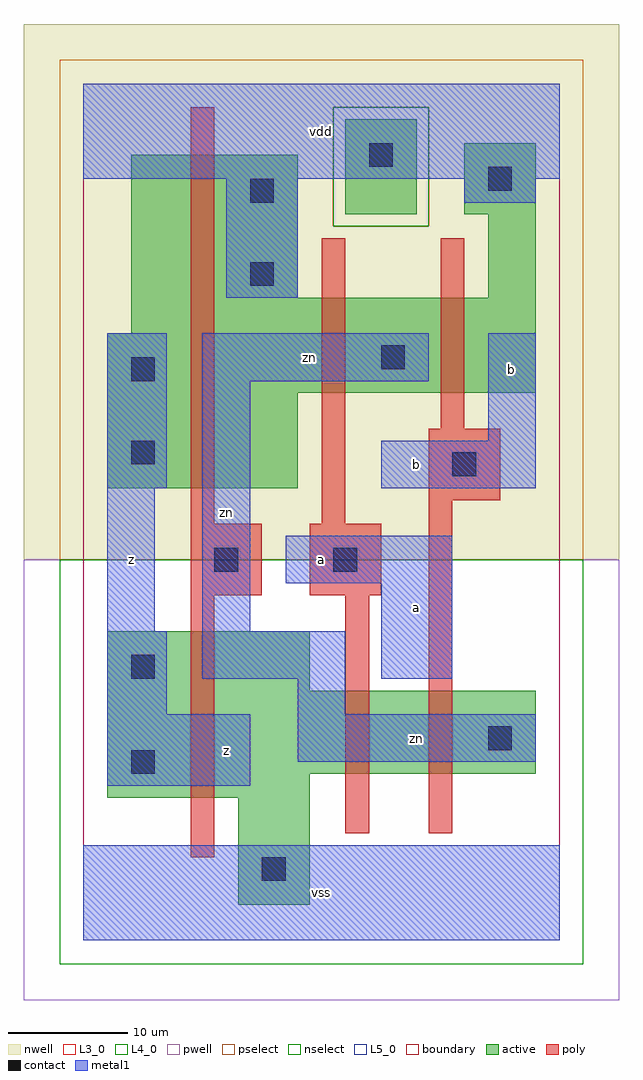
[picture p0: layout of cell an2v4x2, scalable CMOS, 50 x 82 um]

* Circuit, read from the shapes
.subckt an2v4x2 a b vdd vss z zn
M1 vss zn z VSUBS nfet w=14u l=2u
M2 n1 a vss VSUBS nfet w=7u l=2u
M3 zn b n1 VSUBS nfet w=7u l=2u
M4 vdd zn z vdd pfet w=28u l=2u
M5 zn a vdd vdd pfet w=8u l=2u
M6 vdd b zn vdd pfet w=8u l=2u
.ends

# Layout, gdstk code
import gdstk
lib = gdstk.Library(unit=1e-6, precision=1e-09)
def R(c, l, rs):  # rectangles x0, y0, x1, y1
    for r in rs: c.add(gdstk.rectangle(r[:2], r[2:], *l))
L3_0 = (3, 0)
L4_0 = (4, 0)
L5_0 = (5, 0)
contact = (25, 0)
pwell = (41, 0)
nwell = (42, 0)
active = (43, 0)
pselect = (44, 0)
nselect = (45, 0)
poly = (46, 0)
metal1 = (49, 0)
boundary = (63, 0)

an2v4x2 = lib.new_cell('an2v4x2')
R(an2v4x2, L3_0, [(13,3,19,12), (2,12,19,14), (2,14,38,21), (2,21,19,26)])
R(an2v4x2, L4_0, [(2,38,18,46), (2,46,38,51), (4,51,38,54), (4,54,18,66), (34,54,38,61), (32,61,38,67)])
R(an2v4x2, L5_0, [(22,61,28,69)])
R(an2v4x2, contact, [(15,5,17,7), (4,14,6,16), (34,16,36,18), (4,22,6,24), (11,31,13,33), (21,31,23,33), (31,39,33,41), (4,40,6,42), (4,47,6,49), (25,48,27,50), (14,55,16,57), (14,62,16,64), (34,63,36,65), (24,65,26,67)])
R(an2v4x2, pwell, [(-5,-5,45,32)])
R(an2v4x2, nwell, [(-5,32,45,77)])
R(an2v4x2, active, [(13,3,19,12), (2,12,19,14), (2,14,38,21), (2,21,19,26), (2,38,18,46), (2,46,38,51), (4,51,38,54), (4,54,18,66), (34,54,38,61), (22,61,28,69), (32,61,38,67)])
R(an2v4x2, pselect, [(-2,32,42,60), (-2,60,21,70), (29,60,42,70), (-2,70,42,74)])
R(an2v4x2, nselect, [(-2,-2,42,32), (21,60,29,70)])
R(an2v4x2, poly, [(9,7,11,29), (22,9,24,29), (29,9,31,37), (9,29,15,35), (19,29,25,35), (9,35,11,70), (20,35,22,59), (29,37,35,43), (30,43,32,59)])
R(an2v4x2, metal1, [(0,0,40,8), (2,13,14,19), (18,15,38,19), (2,19,7,26), (18,19,22,22), (10,22,22,26), (25,22,31,30), (2,26,6,38), (10,26,14,47), (17,30,31,34), (2,38,7,51), (25,38,38,42), (34,42,38,51), (10,47,29,51), (12,54,18,64), (32,62,38,64), (0,64,40,72)])
R(an2v4x2, boundary, [(0,0,40,72)])
an2v4x2.add(gdstk.Label('zn', (12,36), layer=49, texttype=0))
an2v4x2.add(gdstk.Label('zn', (28,17), layer=49, texttype=0))
an2v4x2.add(gdstk.Label('zn', (19,49), layer=49, texttype=0))
an2v4x2.add(gdstk.Label('z', (4,32), layer=49, texttype=0))
an2v4x2.add(gdstk.Label('z', (12,16), layer=49, texttype=0))
an2v4x2.add(gdstk.Label('vss', (20,4), layer=49, texttype=0))
an2v4x2.add(gdstk.Label('a', (20,32), layer=49, texttype=0))
an2v4x2.add(gdstk.Label('a', (28,28), layer=49, texttype=0))
an2v4x2.add(gdstk.Label('b', (28,40), layer=49, texttype=0))
an2v4x2.add(gdstk.Label('vdd', (20,68), layer=49, texttype=0))
an2v4x2.add(gdstk.Label('b', (36,48), layer=49, texttype=0))

lib.write_gds('an2v4x2.gds')
